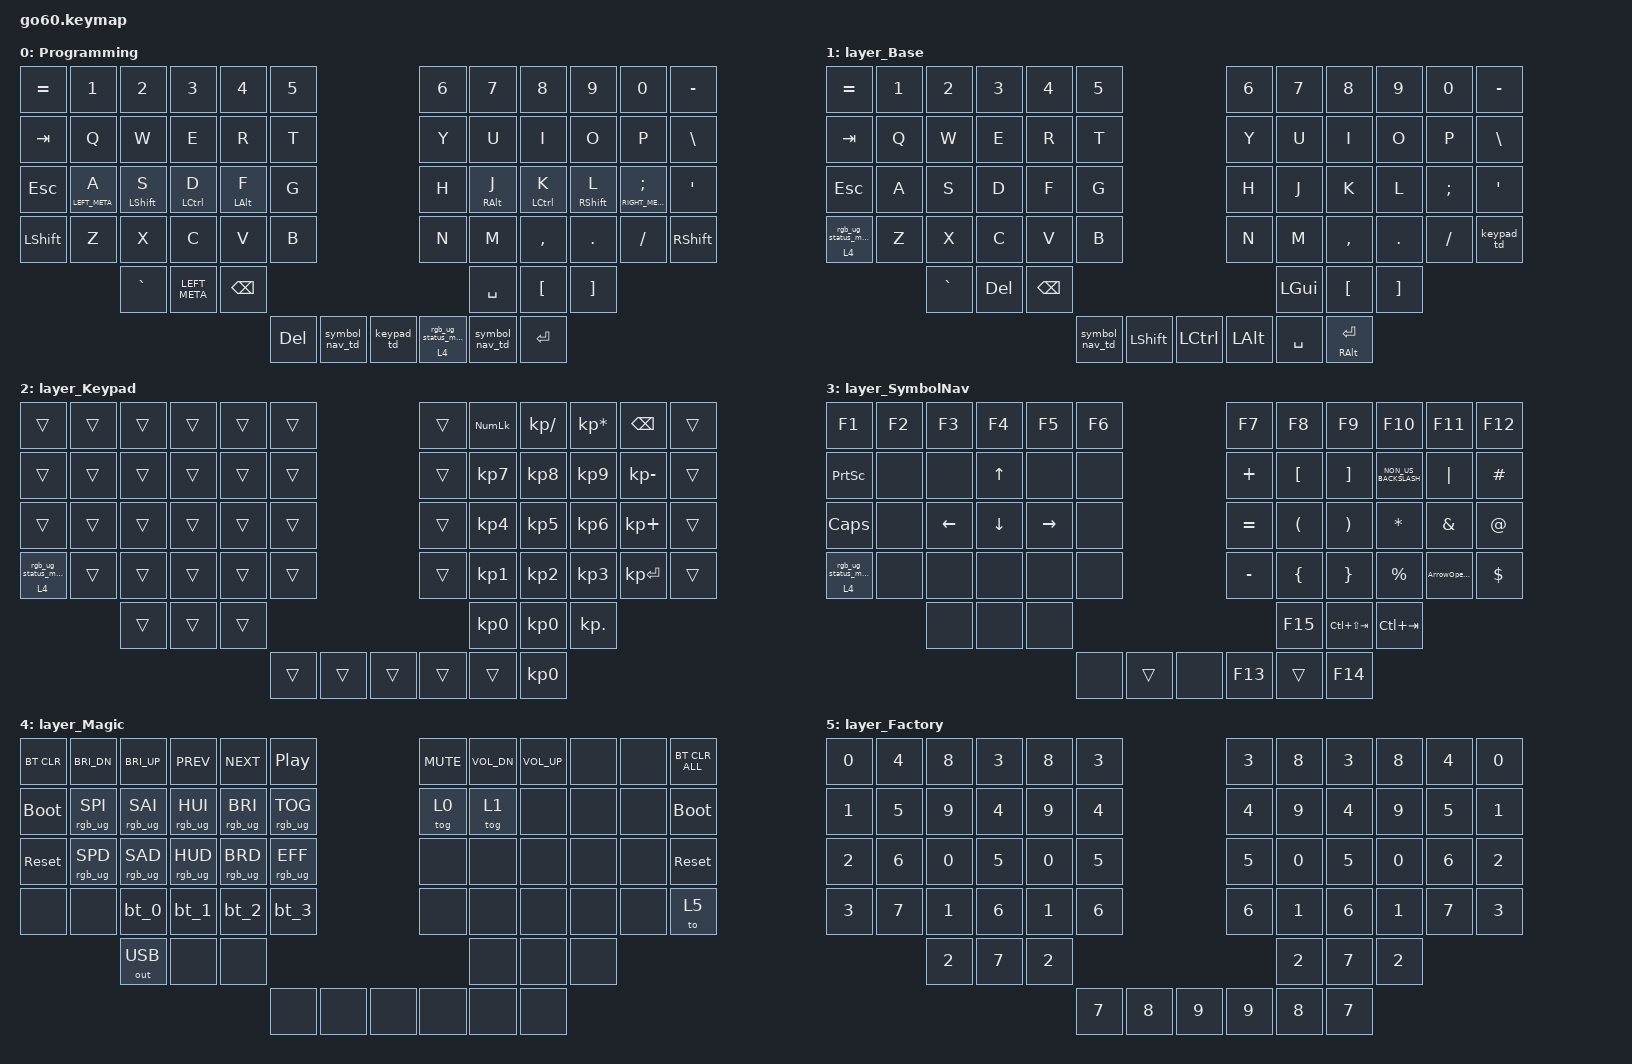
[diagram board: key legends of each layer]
/*
 * Copyright (c) 2020 The ZMK Contributors
 *
 * SPDX-License-Identifier: MIT
 */

#include <dt-bindings/zmk/input_transform.h>
#include <input/processors.dtsi>
#include <zephyr/dt-bindings/input/input-event-codes.h>
#include <behaviors.dtsi>
#include <dt-bindings/zmk/bt.h>
#include <dt-bindings/zmk/keys.h>
#include <dt-bindings/zmk/outputs.h>
#include <dt-bindings/zmk/rgb.h>

// layers

#define LAYER_Base 0
#define LAYER_Keypad 1
#define LAYER_SymbolNav 2
#define LAYER_Magic 3
#define LAYER_Factory 4

/ {
    input_processors {
        zip_click_to_right_click_mapper: zip_click_to_right_click_mapper {
            compatible = "zmk,input-processor-code-mapper";
            #input-processor-cells = <0>;
            type = <INPUT_EV_KEY>;
            map = <INPUT_BTN_0 INPUT_BTN_1>;
        };
    };

    behaviors {
        magic: magic {
            compatible = "zmk,behavior-hold-tap";
            #binding-cells = <2>;
            flavor = "tap-preferred";
            tapping-term-ms = <200>;
            bindings = <&mo>, <&rgb_ug_status_macro>;
        };

        keypad_td: keypad_td {
            compatible = "zmk,behavior-tap-dance";
            #binding-cells = <0>;
            tapping-term-ms = <200>;
            bindings = <&mo 2>, <&to 2>;
        };

        symbol_nav_td: symbol_nav_td {
            compatible = "zmk,behavior-tap-dance";
            #binding-cells = <0>;
            tapping-term-ms = <200>;
            bindings = <&mo 3>, <&to 3>;
        };

        bt_0: bt_0 {
            compatible = "zmk,behavior-tap-dance";
            #binding-cells = <0>;
            tapping-term-ms = <200>;
            bindings = <&bt_select_0>, <&bt BT_DISC 0>;
        };

        bt_1: bt_1 {
            compatible = "zmk,behavior-tap-dance";
            #binding-cells = <0>;
            tapping-term-ms = <200>;
            bindings = <&bt_select_1>, <&bt BT_DISC 1>;
        };

        bt_2: bt_2 {
            compatible = "zmk,behavior-tap-dance";
            #binding-cells = <0>;
            tapping-term-ms = <200>;
            bindings = <&bt_select_2>, <&bt BT_DISC 2>;
        };

        bt_3: bt_3 {
            compatible = "zmk,behavior-tap-dance";
            #binding-cells = <0>;
            tapping-term-ms = <200>;
            bindings = <&bt_select_3>, <&bt BT_DISC 3>;
        };

        hml: hml {
            compatible = "zmk,behavior-hold-tap";
            label = "Homerow Left Side";
            bindings = <&kp>, <&kp>;

            #binding-cells = <2>;
            tapping-term-ms = <280>;
            quick-tap-ms = <175>;
            require-prior-idle-ms = <90>;
            flavor = "balanced";
            hold-trigger-key-positions = <6 7 8 9 10 11 18 19 20 21 22 23 30 31 32 33 34 35 42 43 44 45 46 47 51 52 53 57 58 59>;
            hold-trigger-on-release;
        };

        hmr: hmr {
            compatible = "zmk,behavior-hold-tap";
            label = "Homerow Right Side";
            bindings = <&kp>, <&kp>;

            #binding-cells = <2>;
            tapping-term-ms = <280>;
            quick-tap-ms = <175>;
            require-prior-idle-ms = <90>;
            flavor = "balanced";
            hold-trigger-key-positions = <0 1 2 3 4 5 12 13 14 15 16 17 24 25 26 27 28 29 36 37 38 39 40 41 48 49 50 54 55 56>;
            hold-trigger-on-release;
        };
    };

    macros {
        rgb_ug_status_macro: rgb_ug_status_macro {
            compatible = "zmk,behavior-macro";
            #binding-cells = <0>;
            bindings = <&rgb_ug RGB_STATUS>;
        };

        bt_select_0: bt_select_0 {
            compatible = "zmk,behavior-macro";
            #binding-cells = <0>;
            bindings = <&out OUT_BLE &bt BT_SEL 0>;
        };

        bt_select_1: bt_select_1 {
            compatible = "zmk,behavior-macro";
            #binding-cells = <0>;
            bindings = <&out OUT_BLE &bt BT_SEL 1>;
        };

        bt_select_2: bt_select_2 {
            compatible = "zmk,behavior-macro";
            #binding-cells = <0>;
            bindings = <&out OUT_BLE &bt BT_SEL 2>;
        };

        bt_select_3: bt_select_3 {
            compatible = "zmk,behavior-macro";
            #binding-cells = <0>;
            bindings = <&out OUT_BLE &bt BT_SEL 3>;
        };

        ArrowOperator: ArrowOperator {
            compatible = "zmk,behavior-macro";
            #binding-cells = <0>;
            bindings = <&kp MINUS &kp GREATER_THAN>;
            label = "ARROWOPERATOR";
        };
    };

    keymap {
        compatible = "zmk,keymap";

        Programming {
            bindings = <
&kp EQUAL       &kp N1            &kp N2             &kp N3               &kp N4           &kp N5                                                                                 &kp N6  &kp N7            &kp N8               &kp N9              &kp N0                     &kp MINUS
&kp TAB         &kp Q             &kp W              &kp E                &kp R            &kp T                                                                                  &kp Y   &kp U             &kp I                &kp O               &kp P                      &kp BSLH
&kp ESC         &hml LEFT_META A  &hml LEFT_SHIFT S  &hml LEFT_CONTROL D  &hml LEFT_ALT F  &kp G                                                                                  &kp H   &hmr RIGHT_ALT J  &hmr LEFT_CONTROL K  &hmr RIGHT_SHIFT L  &hmr RIGHT_META SEMICOLON  &kp SQT
&kp LEFT_SHIFT  &kp Z             &kp X              &kp C                &kp V            &kp B                                                                                  &kp N   &kp M             &kp COMMA            &kp DOT             &kp FSLH                   &kp RIGHT_SHIFT
                                  &kp GRAVE          &kp LEFT_META        &kp BACKSPACE                                                                                                   &kp SPACE         &kp LBKT             &kp RBKT
                                                                                                   &kp DELETE  &symbol_nav_td  &keypad_td  &magic 4 0  &symbol_nav_td  &kp ENTER
            >;
        };

        layer_Base {
            bindings = <
&kp EQUAL   &kp N1  &kp N2     &kp N3   &kp N4    &kp N5                                                                               &kp N6  &kp N7    &kp N8     &kp N9    &kp N0    &kp MINUS
&kp TAB     &kp Q   &kp W      &kp E    &kp R     &kp T                                                                                &kp Y   &kp U     &kp I      &kp O     &kp P     &kp BSLH
&kp ESC     &kp A   &kp S      &kp D    &kp F     &kp G                                                                                &kp H   &kp J     &kp K      &kp L     &kp SEMI  &kp SQT
&magic 4 0  &kp Z   &kp X      &kp C    &kp V     &kp B                                                                                &kp N   &kp M     &kp COMMA  &kp DOT   &kp FSLH  &keypad_td
                    &kp GRAVE  &kp DEL  &kp BSPC                                                                                               &kp LGUI  &kp LBKT   &kp RBKT
                                                          &symbol_nav_td  &kp LSHFT  &kp LCTRL  &kp LEFT_ALT  &kp SPACE  &mt RALT RET
            >;
        };

        layer_Keypad {
            bindings = <
&trans      &trans  &trans  &trans  &trans  &trans                                                     &trans  &kp KP_NUMLOCK   &kp KP_SLASH     &kp KP_MULTIPLY  &kp BACKSPACE    &trans
&trans      &trans  &trans  &trans  &trans  &trans                                                     &trans  &kp KP_NUMBER_7  &kp KP_NUMBER_8  &kp KP_NUMBER_9  &kp KP_SUBTRACT  &trans
&trans      &trans  &trans  &trans  &trans  &trans                                                     &trans  &kp KP_NUMBER_4  &kp KP_NUMBER_5  &kp KP_NUMBER_6  &kp KP_PLUS      &trans
&magic 4 0  &trans  &trans  &trans  &trans  &trans                                                     &trans  &kp KP_NUMBER_1  &kp KP_NUMBER_2  &kp KP_NUMBER_3  &kp KP_ENTER     &trans
                    &trans  &trans  &trans                                                                     &kp KP_N0        &kp KP_NUMBER_0  &kp KP_DOT
                                                    &trans  &trans  &trans  &trans  &trans  &kp KP_N0
            >;
        };

        layer_SymbolNav {
            bindings = <
&kp F1           &kp F2  &kp F3    &kp F4    &kp F5     &kp F6                                                  &kp F7     &kp F8                &kp F9                 &kp F10               &kp F11         &kp F12
&kp PRINTSCREEN  &none   &none     &kp UP    &none      &none                                                   &kp PLUS   &kp LEFT_BRACKET      &kp RIGHT_BRACKET      &kp NON_US_BACKSLASH  &kp PIPE        &kp HASH
&kp CAPS         &none   &kp LEFT  &kp DOWN  &kp RIGHT  &none                                                   &kp EQUAL  &kp LEFT_PARENTHESIS  &kp RIGHT_PARENTHESIS  &kp ASTERISK          &kp AMPERSAND   &kp AT_SIGN
&magic 4 0       &none   &none     &none     &none      &none                                                   &kp MINUS  &kp LEFT_BRACE        &kp RIGHT_BRACE        &kp PERCENT           &ArrowOperator  &kp DOLLAR
                         &none     &none     &none                                                                         &kp F15               &kp LC(LS(TAB))        &kp LC(TAB)
                                                                &none  &trans  &none  &kp F13  &trans  &kp F14
            >;
        };

        layer_Magic {
            bindings = <
&bt BT_CLR   &kp C_BRI_DN     &kp C_BRI_UP     &kp C_PREV       &kp C_NEXT       &kp C_PP                                                   &kp C_MUTE  &kp C_VOL_DN  &kp C_VOL_UP  &none  &none  &bt BT_CLR_ALL
&bootloader  &rgb_ug RGB_SPI  &rgb_ug RGB_SAI  &rgb_ug RGB_HUI  &rgb_ug RGB_BRI  &rgb_ug RGB_TOG                                            &tog 0      &tog 1        &none         &none  &none  &bootloader
&sys_reset   &rgb_ug RGB_SPD  &rgb_ug RGB_SAD  &rgb_ug RGB_HUD  &rgb_ug RGB_BRD  &rgb_ug RGB_EFF                                            &none       &none         &none         &none  &none  &sys_reset
&none        &none            &bt_0            &bt_1            &bt_2            &bt_3                                                      &none       &none         &none         &none  &none  &to 5
                              &out OUT_USB     &none            &none                                                                                   &none         &none         &none
                                                                                                  &none  &none  &none  &none  &none  &none
            >;
        };

        layer_Factory {
            bindings = <
&kp N0  &kp N4  &kp N8  &kp N3  &kp N8  &kp N3                                                  &kp N3  &kp N8  &kp N3  &kp N8  &kp N4  &kp N0
&kp N1  &kp N5  &kp N9  &kp N4  &kp N9  &kp N4                                                  &kp N4  &kp N9  &kp N4  &kp N9  &kp N5  &kp N1
&kp N2  &kp N6  &kp N0  &kp N5  &kp N0  &kp N5                                                  &kp N5  &kp N0  &kp N5  &kp N0  &kp N6  &kp N2
&kp N3  &kp N7  &kp N1  &kp N6  &kp N1  &kp N6                                                  &kp N6  &kp N1  &kp N6  &kp N1  &kp N7  &kp N3
                &kp N2  &kp N7  &kp N2                                                                  &kp N2  &kp N7  &kp N2
                                                &kp N7  &kp N8  &kp N9  &kp N9  &kp N8  &kp N7
            >;
        };
    };
};

&cirque_rh_listener {
    input-processors = <&zip_xy_scaler 5 2>;

    layer_2 {
        layers = <2>;
        input-processors = <&zip_xy_scaler 15 2>;
    };
};

&cirque_lh_listener {
    input-processors =
        <&zip_xy_to_scroll_mapper>,
        <&zip_xy_scaler 1 100>,
        <&zip_click_to_right_click_mapper>;

    layer_4 {
        layers = <4>;
        input-processors = <&zip_xy_scaler 3 1>;
    };
};
